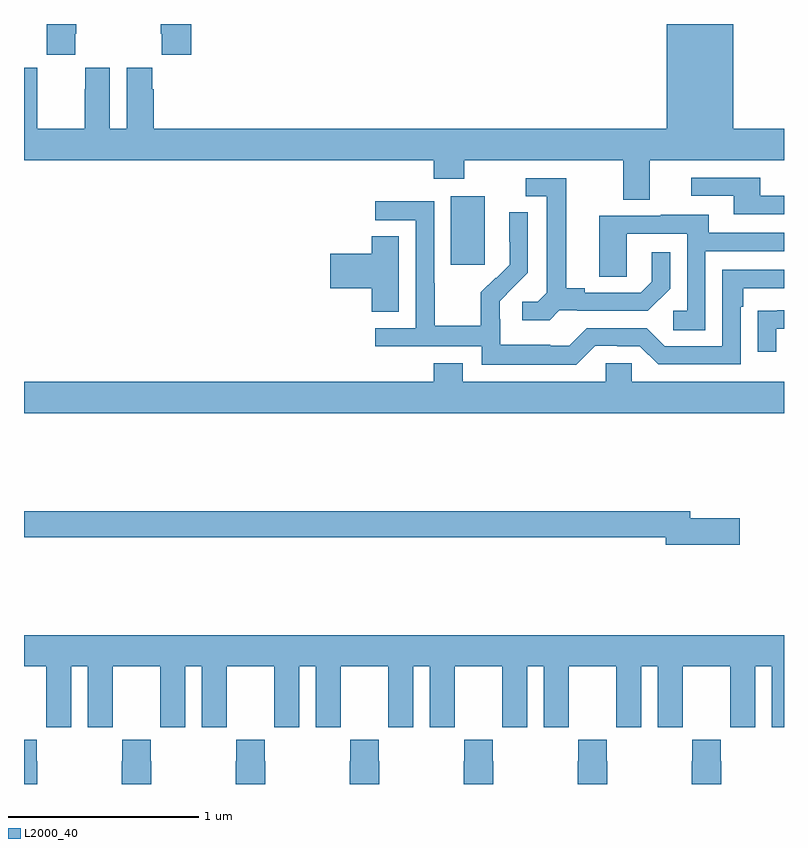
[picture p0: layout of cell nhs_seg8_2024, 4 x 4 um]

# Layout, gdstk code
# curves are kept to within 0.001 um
import gdstk
lib = gdstk.Library(unit=1e-6, precision=1e-09)
def R(c, l, rs):  # rectangles x0, y0, x1, y1
    for r in rs: c.add(gdstk.rectangle(r[:2], r[2:], *l))
def P(c, l, *ps):  # polygons
    for p in ps: c.add(gdstk.Polygon(p, *l))
L2000_40 = (2000, 40)

nhs_seg8_2024 = lib.new_cell('nhs_seg8_2024')
R(nhs_seg8_2024, L2000_40, [(241.247,1098.633,241.426,1098.994)])
P(nhs_seg8_2024, L2000_40, [(242.293,1099.184),(243,1099.184),(243,1099.348),(242.734,1099.348),(242.734,1099.9),(242.384,1099.9),(242.384,1099.348),(239.684,1099.348),(239.684,1099.556),(239.674,1099.556),(239.674,1099.669),(239.54,1099.669),(239.54,1099.348),(239.452,1099.348),(239.452,1099.669),(239.322,1099.669),(239.322,1099.556),(239.321,1099.556),(239.321,1099.348),(239.071,1099.348),(239.071,1099.556),(239.07,1099.556),(239.07,1099.669),(239,1099.669),(239,1099.184),(241.157,1099.184),(241.157,1099.085),(241.317,1099.085),(241.317,1099.184),(242.153,1099.184),(242.153,1098.976),(242.293,1098.976)],
  [(239.119,1099.849),(239.121,1099.849),(239.121,1099.737),(239.271,1099.737),(239.271,1099.849),(239.274,1099.849),(239.274,1099.9),(239.119,1099.9)],
  [(239.879,1099.9),(239.719,1099.9),(239.719,1099.849),(239.725,1099.849),(239.725,1099.737),(239.879,1099.737)],
  [(243,1098.996),(242.875,1098.996),(242.875,1099.092),(242.511,1099.092),(242.511,1098.996),(242.735,1098.996),(242.735,1098.9),(243,1098.9)],
  [(241.818,1098.393),(241.912,1098.393),(241.912,1098.39),(242.284,1098.39),(242.4,1098.506),(242.4,1098.7),(242.303,1098.7),(242.303,1098.543),(242.246,1098.486),(241.951,1098.486),(241.951,1098.509),(241.855,1098.509),(241.855,1099.089),(241.641,1099.089),(241.641,1098.993),(241.751,1098.993),(241.751,1098.485),(241.704,1098.438),(241.623,1098.438),(241.623,1098.341),(241.766,1098.341)],
  [(242.007,1098.207),(242.123,1098.207),(242.123,1098.204),(242.241,1098.204),(242.337,1098.108),(242.772,1098.108),(242.772,1098.413),(242.785,1098.413),(242.785,1098.51),(243,1098.51),(243,1098.606),(242.676,1098.606),(242.676,1098.204),(242.373,1098.204),(242.277,1098.3),(241.962,1098.3),(241.869,1098.207),(241.769,1098.207),(241.769,1098.211),(241.506,1098.211),(241.506,1098.345),(241.504,1098.345),(241.504,1098.442),(241.65,1098.59),(241.65,1098.908),(241.554,1098.908),(241.554,1098.754),(241.556,1098.754),(241.556,1098.632),(241.485,1098.561),(241.482,1098.564),(241.405,1098.487),(241.405,1098.313),(241.161,1098.313),(241.161,1098.536),(241.158,1098.536),(241.158,1098.966),(240.849,1098.966),(240.849,1098.867),(241.062,1098.867),(241.062,1098.3),(240.849,1098.3),(240.849,1098.204),(241.41,1098.204),(241.41,1098.107),(241.907,1098.107)],
  [(242.586,1098.705),(243,1098.705),(243,1098.801),(242.605,1098.801),(242.605,1098.895),(242.351,1098.895),(242.351,1098.891),(242.027,1098.891),(242.027,1098.571),(242.172,1098.571),(242.172,1098.795),(242.49,1098.795),(242.49,1098.39),(242.418,1098.39),(242.418,1098.289),(242.586,1098.289)],
  [(240.973,1098.782),(240.83,1098.782),(240.83,1098.692),(240.612,1098.692),(240.612,1098.509),(240.83,1098.509),(240.83,1098.385),(240.973,1098.385)],
  [(242.959,1098.297),(243,1098.297),(243,1098.393),(242.965,1098.393),(242.965,1098.392),(242.863,1098.392),(242.863,1098.174),(242.959,1098.174)],
  [(243,1098.016),(242.199,1098.016),(242.199,1098.114),(242.061,1098.114),(242.061,1098.016),(241.309,1098.016),(241.309,1098.115),(241.157,1098.115),(241.157,1098.016),(239,1098.016),(239,1097.852),(243,1097.852)],
  [(242.767,1097.3),(242.506,1097.3),(242.506,1097.336),(239,1097.336),(239,1097.2),(242.378,1097.2),(242.378,1097.158),(242.767,1097.158)],
  [(239,1096.52),(239.117,1096.52),(239.117,1096.312),(239.118,1096.312),(239.118,1096.2),(239.248,1096.2),(239.248,1096.52),(239.336,1096.52),(239.336,1096.2),(239.466,1096.2),(239.466,1096.312),(239.467,1096.312),(239.467,1096.52),(239.717,1096.52),(239.717,1096.312),(239.718,1096.312),(239.718,1096.2),(239.848,1096.2),(239.848,1096.52),(239.936,1096.52),(239.936,1096.2),(240.066,1096.2),(240.066,1096.312),(240.067,1096.312),(240.067,1096.52),(240.317,1096.52),(240.317,1096.312),(240.318,1096.312),(240.318,1096.2),(240.448,1096.2),(240.448,1096.52),(240.536,1096.52),(240.536,1096.2),(240.666,1096.2),(240.666,1096.312),(240.667,1096.312),(240.667,1096.52),(240.917,1096.52),(240.917,1096.312),(240.918,1096.312),(240.918,1096.2),(241.048,1096.2),(241.048,1096.52),(241.136,1096.52),(241.136,1096.2),(241.266,1096.2),(241.266,1096.312),(241.267,1096.312),(241.267,1096.52),(241.517,1096.52),(241.517,1096.312),(241.518,1096.312),(241.518,1096.2),(241.648,1096.2),(241.648,1096.52),(241.736,1096.52),(241.736,1096.2),(241.866,1096.2),(241.866,1096.312),(241.867,1096.312),(241.867,1096.52),(242.117,1096.52),(242.117,1096.312),(242.118,1096.312),(242.118,1096.2),(242.248,1096.2),(242.248,1096.52),(242.336,1096.52),(242.336,1096.2),(242.466,1096.2),(242.466,1096.312),(242.467,1096.312),(242.467,1096.52),(242.717,1096.52),(242.717,1096.312),(242.718,1096.312),(242.718,1096.2),(242.848,1096.2),(242.848,1096.52),(242.936,1096.52),(242.936,1096.2),(243,1096.2),(243,1096.684),(239,1096.684)],
  [(240.87,1096.019),(240.867,1096.019),(240.867,1096.132),(240.717,1096.132),(240.717,1096.019),(240.715,1096.019),(240.715,1095.9),(240.87,1095.9)],
  [(239.67,1096.019),(239.667,1096.019),(239.667,1096.132),(239.517,1096.132),(239.517,1096.019),(239.515,1096.019),(239.515,1095.9),(239.67,1095.9)],
  [(240.27,1096.019),(240.267,1096.019),(240.267,1096.132),(240.117,1096.132),(240.117,1096.019),(240.115,1096.019),(240.115,1095.9),(240.27,1095.9)],
  [(239.07,1096.019),(239.067,1096.019),(239.067,1096.132),(239,1096.132),(239,1095.9),(239.07,1095.9)],
  [(242.67,1096.019),(242.667,1096.019),(242.667,1096.132),(242.517,1096.132),(242.517,1096.019),(242.515,1096.019),(242.515,1095.9),(242.67,1095.9)],
  [(242.07,1096.019),(242.067,1096.019),(242.067,1096.132),(241.917,1096.132),(241.917,1096.019),(241.915,1096.019),(241.915,1095.9),(242.07,1095.9)],
  [(241.47,1096.019),(241.467,1096.019),(241.467,1096.132),(241.317,1096.132),(241.317,1096.019),(241.315,1096.019),(241.315,1095.9),(241.47,1095.9)])

lib.write_gds('nhs_seg8_2024.gds')
